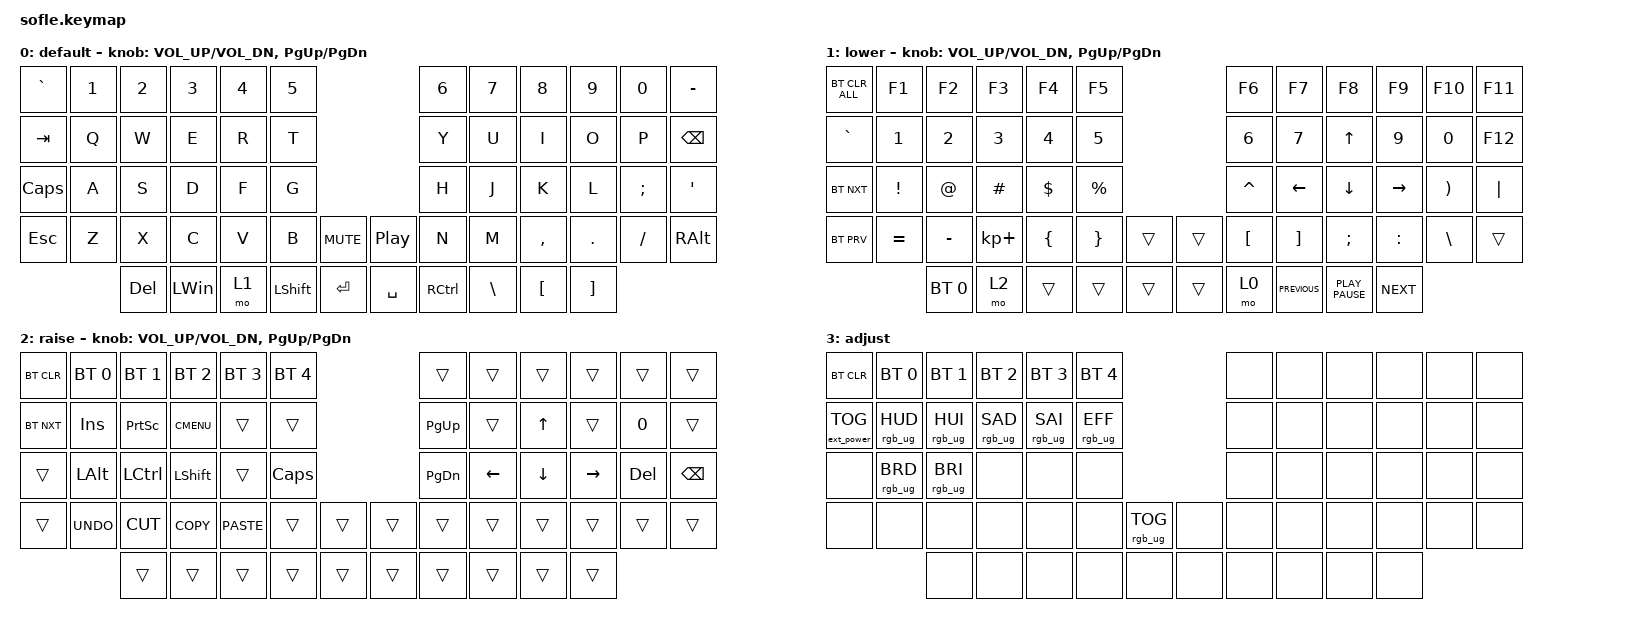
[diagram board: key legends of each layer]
/*
 * Copyright (c) 2020 The ZMK Contributors
 *
 * SPDX-License-Identifier: MIT
 */

#include <behaviors.dtsi>
#include <dt-bindings/zmk/bt.h>
#include <dt-bindings/zmk/ext_power.h>
#include <dt-bindings/zmk/keys.h>
#include <dt-bindings/zmk/rgb.h>

#define BASE 0
#define LOWER 1
#define RAISE 2
#define ADJUST 3

/ {
    // Activate ADJUST layer by pressing raise and lower

    conditional_layers {
        compatible = "zmk,conditional-layers";

        adjust_layer {
            if-layers = <LOWER RAISE>;
            then-layer = <ADJUST>;
        };
    };

    keymap {
        compatible = "zmk,keymap";

        default_layer {
            label = "default";

            // ------------------------------------------------------------------------------------------------------------
            // |   `   |  1  |  2  |  3   |  4   |  5   |                   |  6   |  7    |  8    |  9   |   0   |       |
            // |  ESC  |  Q  |  W  |  E   |  R   |  T   |                   |  Y   |  U    |  I    |  O   |   P   | BKSPC |
            // |  TAB  |  A  |  S  |  D   |  F   |  G   |                   |  H   |  J    |  K    |  L   |   ;   |   '   |
            // | SHIFT |  Z  |  X  |  C   |  V   |  B   |  MUTE  |  |       |  N   |  M    |  ,    |  .   |   /   | SHIFT |
            //               | GUI | ALT  | CTRL | LOWER|  ENTER |  | SPACE | RAISE| CTRL  | ALT   | GUI  |

            bindings = <
&kp GRAVE   &kp N1  &kp N2   &kp N3        &kp N4  &kp N5                                      &kp N6             &kp N7         &kp N8            &kp N9             &kp N0    &kp MINUS
&kp TAB     &kp Q   &kp W    &kp E         &kp R   &kp T                                       &kp Y              &kp U          &kp I             &kp O              &kp P     &kp BSPC
&kp CAPS    &kp A   &kp S    &kp D         &kp F   &kp G                                       &kp H              &kp J          &kp K             &kp L              &kp SEMI  &kp SQT
&kp ESCAPE  &kp Z   &kp X    &kp C         &kp V   &kp B       &kp C_MUTE    &kp C_PLAY_PAUSE  &kp N              &kp M          &kp COMMA         &kp DOT            &kp FSLH  &kp RIGHT_ALT
                    &kp DEL  &kp LEFT_WIN  &mo 1   &kp LSHIFT  &kp RET       &kp SPACE         &kp RIGHT_CONTROL  &kp BACKSLASH  &kp LEFT_BRACKET  &kp RIGHT_BRACKET
            >;

            sensor-bindings = <&inc_dec_kp C_VOL_UP C_VOL_DN &inc_dec_kp PG_UP PG_DN>;
        };

        lower_layer {
            label = "lower";

            // TODO: Some binds are waiting for shifted keycode support.
            // ------------------------------------------------------------------------------------------------------------
            // |       |  F1 |  F2 |  F3  |  F4  |  F5  |                   |  F6  |  F7   |  F8   |  F9  |  F10  |  F11  |
            // |   `   |  1  |  2  |  3   |  4   |  5   |                   |  6   |  7    |  8    |  9   |   0   |  F12  |
            // |       |  !  |  @  |  #   |  $   |  %   |                   |  ^   |  &    |  *    |  (   |   )   |   |   |
            // |       |  =  |  -  |  +   |  {   |  }   |        |  |       |  [   |  ]    |  ;    |  :   |   \   |       |
            //               |     |      |      |      |        |  |       |      |       |       |      |

            bindings = <
&bt BT_CLR_ALL  &kp F1     &kp F2        &kp F3       &kp F4    &kp F5                       &kp F6     &kp F7          &kp F8            &kp F9      &kp F10   &kp F11
&kp GRAVE       &kp N1     &kp N2        &kp N3       &kp N4    &kp N5                       &kp N6     &kp N7          &kp UP_ARROW      &kp N9      &kp N0    &kp F12
&bt BT_NXT      &kp EXCL   &kp AT        &kp HASH     &kp DLLR  &kp PRCNT                    &kp CARET  &kp LEFT        &kp DOWN          &kp RIGHT   &kp RPAR  &kp PIPE
&bt BT_PRV      &kp EQUAL  &kp MINUS     &kp KP_PLUS  &kp LBRC  &kp RBRC   &trans    &trans  &kp LBKT   &kp RBKT        &kp SEMI          &kp COLON   &kp BSLH  &trans
                           &bt BT_SEL 0  &mo 2        &trans    &trans     &trans    &trans  &mo 0      &kp C_PREVIOUS  &kp K_PLAY_PAUSE  &kp C_NEXT
            >;

            sensor-bindings = <&inc_dec_kp C_VOL_UP C_VOL_DN &inc_dec_kp PG_UP PG_DN>;
        };

        raise_layer {
            label = "raise";

            // ------------------------------------------------------------------------------------------------------------
            // | BTCLR | BT1  | BT2  |  BT3  |  BT4  |  BT5 |                |      |      |       |      |       |       |
            // |       | INS  | PSCR | GUI   |       |      |                | PGUP |      |   ^   |      |       |       |
            // |       | ALT  | CTRL | SHIFT |       | CAPS |                | PGDN |   <- |   v   |  ->  |  DEL  | BKSPC |
            // |       | UNDO | CUT  | COPY  | PASTE |      |      |  |      |      |      |       |      |       |       |
            //                |      |       |       |      |      |  |      |      |      |       |      |

            bindings = <
&bt BT_CLR  &bt BT_SEL 0  &bt BT_SEL 1  &bt BT_SEL 2  &bt BT_SEL 3  &bt BT_SEL 4                    &trans     &trans    &trans    &trans     &trans   &trans
&bt BT_NXT  &kp INS       &kp PSCRN     &kp K_CMENU   &trans        &trans                          &kp PG_UP  &trans    &kp UP    &trans     &kp N0   &trans
&trans      &kp LALT      &kp LCTRL     &kp LSHFT     &trans        &kp CLCK                        &kp PG_DN  &kp LEFT  &kp DOWN  &kp RIGHT  &kp DEL  &kp BSPC
&trans      &kp K_UNDO    &kp K_CUT     &kp K_COPY    &kp K_PASTE   &trans        &trans    &trans  &trans     &trans    &trans    &trans     &trans   &trans
                          &trans        &trans        &trans        &trans        &trans    &trans  &trans     &trans    &trans    &trans
            >;

            sensor-bindings = <&inc_dec_kp C_VOL_UP C_VOL_DN &inc_dec_kp PG_UP PG_DN>;
        };

        adjust_layer {
            // ----------------------------------------------------------------------------------------------------------------------------
            // | BTCLR  |  BT1    |  BT2    |   BT3   |   BT4   |   BT5   |                  |      |      |       |      |       |       |
            // | EXTPWR | RGB_HUD | RGB_HUI | RGB_SAD | RGB_SAI | RGB_EFF |                  |      |      |       |      |       |       |
            // |        | RGB_BRD | RGB_BRI |         |         |         |                  |      |      |       |      |       |       |
            // |        |         |         |         |         |         | RGB_TOG | |      |      |      |       |      |       |       |
            //                    |         |         |         |         |         | |      |      |      |       |      |

            label = "adjust";
            bindings = <
&bt BT_CLR         &bt BT_SEL 0     &bt BT_SEL 1     &bt BT_SEL 2     &bt BT_SEL 3     &bt BT_SEL 4                               &none  &none  &none  &none  &none  &none
&ext_power EP_TOG  &rgb_ug RGB_HUD  &rgb_ug RGB_HUI  &rgb_ug RGB_SAD  &rgb_ug RGB_SAI  &rgb_ug RGB_EFF                            &none  &none  &none  &none  &none  &none
&none              &rgb_ug RGB_BRD  &rgb_ug RGB_BRI  &none            &none            &none                                      &none  &none  &none  &none  &none  &none
&none              &none            &none            &none            &none            &none            &rgb_ug RGB_TOG    &none  &none  &none  &none  &none  &none  &none
                                    &none            &none            &none            &none            &none              &none  &none  &none  &none  &none
            >;
        };
    };
};
